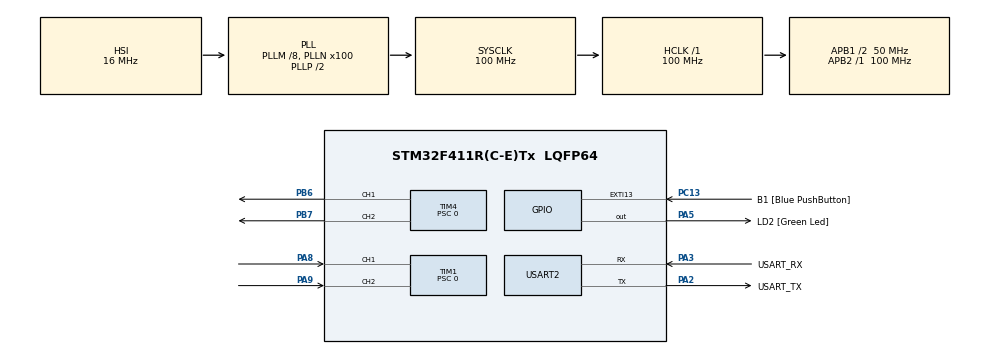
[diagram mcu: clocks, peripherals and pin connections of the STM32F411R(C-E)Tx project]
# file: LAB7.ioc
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Mcu.Family=STM32F4
RCC.CortexFreq_Value=100000000
PA14.GPIO_Label=TCK
TIM1.EncoderMode=TIM_ENCODERMODE_TI12
RCC.SYSCLKSource=RCC_SYSCLKSOURCE_PLLCLK
ProjectManager.StackSize=0x400
TIM1.Prescaler=0
PH0\ -\ OSC_IN.Signal=RCC_OSC_IN
RCC.HCLKFreq_Value=100000000
RCC.APB2TimFreq_Value=100000000
TIM4.Pulse-PWM\ Generation1\ CH1=5000
PB6.Signal=S_TIM4_CH1
RCC.AHBFreq_Value=100000000
NVIC.TIM1_TRG_COM_TIM11_IRQn=true\:0\:0\:false\:false\:true\:true\:true
RCC.HSE_VALUE=8000000
PC13-ANTI_TAMP.Signal=GPXTI13
PC14-OSC32_IN.Mode=LSE-External-Oscillator
PA14.Mode=Serial_Wire
SH.S_TIM4_CH2.0=TIM4_CH2,PWM Generation2 CH2
PB7.Signal=S_TIM4_CH2
PA8.Signal=S_TIM1_CH1
TIM4.Period=10000
RCC.FLatency-AdvancedSettings=FLASH_LATENCY_3
Mcu.Package=LQFP64
TIM2.Prescaler=99
USART2.VirtualMode=VM_ASYNC
PA2.GPIO_Label=USART_TX
SH.S_TIM4_CH1.0=TIM4_CH1,PWM Generation1 CH1
RCC.APB1TimFreq_Value=100000000
TIM1.Period=3071
TIM4.Pulse-PWM\ Generation2\ CH2=5000
PA3.Signal=USART2_RX
PB3.GPIO_Label=SWO
TIM4.Channel-PWM\ Generation1\ CH1=TIM_CHANNEL_1
PC15-OSC32_OUT.Mode=LSE-External-Oscillator
PC13-ANTI_TAMP.GPIO_Label=B1 [Blue PushButton]
PH1\ -\ OSC_OUT.Mode=HSE-External-Clock-Source
RCC.APB1CLKDivider=RCC_HCLK_DIV2
PC14-OSC32_IN.Signal=RCC_OSC32_IN
PA13.Signal=SYS_JTMS-SWDIO
PA3.Mode=Asynchronous
PH0\ -\ OSC_IN.Mode=HSE-External-Clock-Source
SH.S_TIM1_CH1.0=TIM1_CH1,Encoder_Interface
ProjectManager.TargetToolchain=STM32CubeIDE
PA9.Signal=S_TIM1_CH2
TIM4.Prescaler=0
PC15-OSC32_OUT.Signal=RCC_OSC32_OUT
PA5.Signal=GPIO_Output
PH1\ -\ OSC_OUT.Signal=RCC_OSC_OUT
board=NUCLEO-F411RE
RCC.VCOOutputFreq_Value=200000000
TIM4.Channel-PWM\ Generation2\ CH2=TIM_CHANNEL_2
RCC.APB2Freq_Value=100000000
SH.S_TIM1_CH2.0=TIM1_CH2,Encoder_Interface
VP_TIM2_VS_ClockSourceINT.Mode=Internal
TIM1.IC2Filter=4
PA13.Mode=Serial_Wire
Mcu.Name=STM32F411R(C-E)Tx
PA13.GPIO_Label=TMS
PA2.Signal=USART2_TX
RCC.48MHZClocksFreq_Value=50000000
PB3.Signal=SYS_JTDO-SWO
RCC.SYSCLKFreq_VALUE=100000000
PA5.GPIO_Label=LD2 [Green Led]
TIM1.IC1Filter=15
PC13-ANTI_TAMP.GPIO_ModeDefaultEXTI=GPIO_MODE_IT_FALLING
PA14.Signal=SYS_JTCK-SWCLK
ProjectManager.HeapSize=0x200
RCC.HSI_VALUE=16000000
VP_TIM4_VS_ClockSourceINT.Mode=Internal
NVIC.PriorityGroup=NVIC_PRIORITYGROUP_0
RCC.PLLM=8
RCC.PLLN=100
PA2.Mode=Asynchronous
RCC.APB1Freq_Value=50000000
PA3.GPIO_Label=USART_RX

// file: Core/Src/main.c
/* USER CODE BEGIN Header */
/**
  ******************************************************************************
  * @file           : main.c
  * @brief          : Main program body
  ******************************************************************************
  * @attention
  *
  * <h2><center>&copy; Copyright (c) 2021 STMicroelectronics.
  * All rights reserved.</center></h2>
  *
  * This software component is licensed by ST under BSD 3-Clause license,
  * the "License"; You may not use this file except in compliance with the
  * License. You may obtain a copy of the License at:
  *                        opensource.org/licenses/BSD-3-Clause
  *
  ******************************************************************************
  */
/* USER CODE END Header */
#include "main.h"

TIM_HandleTypeDef htim1;
TIM_HandleTypeDef htim2;
TIM_HandleTypeDef htim4;

UART_HandleTypeDef huart2;

/* USER CODE BEGIN PV */
uint64_t PWMOut1 = 0;
uint64_t PWMOut2 = 0;
float Vel = 0;

uint16_t first = 0;

uint64_t _micros = 0;
float setVel = 0;
float EncoderRpm = 0;
float EncoderVel = 0;

float lastEncoderRpm = 0;
float Avg_Vel = 0;
uint64_t Timestamp_Encoder = 0;
uint64_t Timestamp_Average = 0;

float Kp = 300.0;
float Ki = 1.8;
float Kd = 160.0;
float saveKp = 300.0;
float saveKi = 1.8;
float saveKd = 160.0;
float K1 = 461.8;//Kp + Ki + Kd;
float K2 = 620;//Kp + (2*Kd);

float VelChange = 0;
float VelError = 0;

//float sumError = 0;
//float diffError = 0;

float lastError = 0;
float SecondlastError = 0;

/* USER CODE END PV */

void SystemClock_Config(void);
static void MX_GPIO_Init(void);
static void MX_USART2_UART_Init(void);
static void MX_TIM1_Init(void);
static void MX_TIM2_Init(void);
static void MX_TIM4_Init(void);
/* USER CODE BEGIN PFP */
uint64_t micros();
float EncoderVelocity_Update();
/* USER CODE END PFP */

int main(void)
{

  /* MCU Configuration--------------------------------------------------------*/

  /* Reset of all peripherals, Initializes the Flash interface and the Systick. */
  HAL_Init();

  /* Configure the system clock */
  SystemClock_Config();

  /* Initialize all configured peripherals */
  MX_GPIO_Init();
  MX_USART2_UART_Init();
  MX_TIM1_Init();
  MX_TIM2_Init();
  MX_TIM4_Init();
  /* USER CODE BEGIN 2 */
  HAL_TIM_Base_Start_IT(&htim2);
  HAL_TIM_Encoder_Start(&htim1, TIM_CHANNEL_ALL);
  HAL_TIM_Base_Start(&htim4);
  HAL_TIM_PWM_Start(&htim4, TIM_CHANNEL_1);
  HAL_TIM_PWM_Start(&htim4, TIM_CHANNEL_2);
  /* USER CODE END 2 */

  /* Infinite loop */
  while (1)
  {

    /* USER CODE BEGIN 3 */
	  //RAW Read
//	  /*if (micros() - Timestamp_Encoder >= 1000) //us
//	  {
//		  Timestamp_Encoder = micros();
//		  EncoderVel = EncoderVelocity_Update();
//	  }*/
	  //Add LPF?
	  //สูงสุดสามารถวัดได้ 1535 pulse ใน 1000 us
	  //ดังนั้นจากสมการ (EncoderPositionDiff * 1000000) / (float) EncoderTimeDiff
	  //1535000 pulse/second * 60 / 3072 = 29980 Rpm
	  //ต่ำสุดระบบสามารถวัดได้ 1 pulse
	  //ใน 1000 us
	  //ดังนั้นจากสมการ (EncoderPositionDiff * 1000000) / (float) EncoderTimeDiff
	  //1000 pulse/second * 60 / 3072 = 19.53125 Rpm
	  if (micros() - Timestamp_Encoder >= 1000) //us
	  {
		  Timestamp_Encoder = micros();
		  EncoderVel = ((EncoderVel * 199) + EncoderVelocity_Update())/200.0;
		  EncoderRpm = (EncoderVel * 60.0)/3072.0;
		  if(setVel > 35.0)
		  {
			  setVel = 35.0;
		  }
		  else if(setVel < -35.0)
		  {
			  setVel = -35.0;
		  }
		  VelError = setVel - EncoderRpm;
		  VelChange = (K1*VelError) - (K2*lastError) + (Kd*SecondlastError);
		  Vel += VelChange;

		  if(Vel > 10000.0)
		  {
			  Vel = 10000.0;
		  }
		  if(Vel < -10000.0)
		  {
			  Vel = -10000.0;
		  }

		  if(Vel >= 0)
		  {
			  PWMOut1 = Vel;
			  PWMOut2 = 0;
		  }
		  if(Vel < 0)
		  {
			  PWMOut1 = 0;
			  PWMOut2 = -Vel;
		  }

		  SecondlastError = lastError;
		  lastError = VelError;

		  /*if(Kp != saveKp || Ki != saveKi || Kd != saveKd)
		  {
			  Vel = 0;
			  SecondlastError = 0;
			  lastError = 0;

			  K1 = Kp + Ki + Kd;
			  K2 = Kp + (2*Kd);

			  saveKd = Kd;
			  saveKp = Kp;
			  saveKi = Ki;

		  }*/

		  __HAL_TIM_SET_COMPARE(&htim4, TIM_CHANNEL_1, PWMOut1);
		  __HAL_TIM_SET_COMPARE(&htim4, TIM_CHANNEL_2, PWMOut2);
	  }
//	  if (micros() - Timestamp_Average >= 10000)
//	  {
//		  Timestamp_Average = micros();
//		  Avg_Vel = ((lastEncoderRpm * 999) + EncoderRpm)/1000.0;
//		  lastEncoderRpm = EncoderRpm;
//	  }
  }
  /* USER CODE END 3 */
}

void SystemClock_Config(void)
{
  RCC_OscInitTypeDef RCC_OscInitStruct = {0};
  RCC_ClkInitTypeDef RCC_ClkInitStruct = {0};

  /** Configure the main internal regulator output voltage
  */
  __HAL_RCC_PWR_CLK_ENABLE();
  __HAL_PWR_VOLTAGESCALING_CONFIG(PWR_REGULATOR_VOLTAGE_SCALE1);
  /** Initializes the RCC Oscillators according to the specified parameters
  * in the RCC_OscInitTypeDef structure.
  */
  RCC_OscInitStruct.OscillatorType = RCC_OSCILLATORTYPE_HSI;
  RCC_OscInitStruct.HSIState = RCC_HSI_ON;
  RCC_OscInitStruct.HSICalibrationValue = RCC_HSICALIBRATION_DEFAULT;
  RCC_OscInitStruct.PLL.PLLState = RCC_PLL_ON;
  RCC_OscInitStruct.PLL.PLLSource = RCC_PLLSOURCE_HSI;
  RCC_OscInitStruct.PLL.PLLM = 8;
  RCC_OscInitStruct.PLL.PLLN = 100;
  RCC_OscInitStruct.PLL.PLLP = RCC_PLLP_DIV2;
  RCC_OscInitStruct.PLL.PLLQ = 4;
  if (HAL_RCC_OscConfig(&RCC_OscInitStruct) != HAL_OK)
  {
    Error_Handler();
  }
  /** Initializes the CPU, AHB and APB buses clocks
  */
  RCC_ClkInitStruct.ClockType = RCC_CLOCKTYPE_HCLK|RCC_CLOCKTYPE_SYSCLK
                              |RCC_CLOCKTYPE_PCLK1|RCC_CLOCKTYPE_PCLK2;
  RCC_ClkInitStruct.SYSCLKSource = RCC_SYSCLKSOURCE_PLLCLK;
  RCC_ClkInitStruct.AHBCLKDivider = RCC_SYSCLK_DIV1;
  RCC_ClkInitStruct.APB1CLKDivider = RCC_HCLK_DIV2;
  RCC_ClkInitStruct.APB2CLKDivider = RCC_HCLK_DIV1;

  if (HAL_RCC_ClockConfig(&RCC_ClkInitStruct, FLASH_LATENCY_3) != HAL_OK)
  {
    Error_Handler();
  }
}

static void MX_TIM1_Init(void)
{

  TIM_Encoder_InitTypeDef sConfig = {0};
  TIM_MasterConfigTypeDef sMasterConfig = {0};

  htim1.Instance = TIM1;
  htim1.Init.Prescaler = 0;
  htim1.Init.CounterMode = TIM_COUNTERMODE_UP;
  htim1.Init.Period = 3071;
  htim1.Init.ClockDivision = TIM_CLOCKDIVISION_DIV1;
  htim1.Init.RepetitionCounter = 0;
  htim1.Init.AutoReloadPreload = TIM_AUTORELOAD_PRELOAD_DISABLE;
  sConfig.EncoderMode = TIM_ENCODERMODE_TI12;
  sConfig.IC1Polarity = TIM_ICPOLARITY_RISING;
  sConfig.IC1Selection = TIM_ICSELECTION_DIRECTTI;
  sConfig.IC1Prescaler = TIM_ICPSC_DIV1;
  sConfig.IC1Filter = 15;
  sConfig.IC2Polarity = TIM_ICPOLARITY_RISING;
  sConfig.IC2Selection = TIM_ICSELECTION_DIRECTTI;
  sConfig.IC2Prescaler = TIM_ICPSC_DIV1;
  sConfig.IC2Filter = 4;
  if (HAL_TIM_Encoder_Init(&htim1, &sConfig) != HAL_OK)
  {
    Error_Handler();
  }
  sMasterConfig.MasterOutputTrigger = TIM_TRGO_RESET;
  sMasterConfig.MasterSlaveMode = TIM_MASTERSLAVEMODE_DISABLE;
  if (HAL_TIMEx_MasterConfigSynchronization(&htim1, &sMasterConfig) != HAL_OK)
  {
    Error_Handler();
  }

}

static void MX_TIM2_Init(void)
{

  TIM_ClockConfigTypeDef sClockSourceConfig = {0};
  TIM_MasterConfigTypeDef sMasterConfig = {0};

  htim2.Instance = TIM2;
  htim2.Init.Prescaler = 99;
  htim2.Init.CounterMode = TIM_COUNTERMODE_UP;
  htim2.Init.Period = 4294967295;
  htim2.Init.ClockDivision = TIM_CLOCKDIVISION_DIV1;
  htim2.Init.AutoReloadPreload = TIM_AUTORELOAD_PRELOAD_DISABLE;
  if (HAL_TIM_Base_Init(&htim2) != HAL_OK)
  {
    Error_Handler();
  }
  sClockSourceConfig.ClockSource = TIM_CLOCKSOURCE_INTERNAL;
  if (HAL_TIM_ConfigClockSource(&htim2, &sClockSourceConfig) != HAL_OK)
  {
    Error_Handler();
  }
  sMasterConfig.MasterOutputTrigger = TIM_TRGO_RESET;
  sMasterConfig.MasterSlaveMode = TIM_MASTERSLAVEMODE_DISABLE;
  if (HAL_TIMEx_MasterConfigSynchronization(&htim2, &sMasterConfig) != HAL_OK)
  {
    Error_Handler();
  }

}

static void MX_TIM4_Init(void)
{

  TIM_ClockConfigTypeDef sClockSourceConfig = {0};
  TIM_MasterConfigTypeDef sMasterConfig = {0};
  TIM_OC_InitTypeDef sConfigOC = {0};

  htim4.Instance = TIM4;
  htim4.Init.Prescaler = 0;
  htim4.Init.CounterMode = TIM_COUNTERMODE_UP;
  htim4.Init.Period = 10000;
  htim4.Init.ClockDivision = TIM_CLOCKDIVISION_DIV1;
  htim4.Init.AutoReloadPreload = TIM_AUTORELOAD_PRELOAD_DISABLE;
  if (HAL_TIM_Base_Init(&htim4) != HAL_OK)
  {
    Error_Handler();
  }
  sClockSourceConfig.ClockSource = TIM_CLOCKSOURCE_INTERNAL;
  if (HAL_TIM_ConfigClockSource(&htim4, &sClockSourceConfig) != HAL_OK)
  {
    Error_Handler();
  }
  if (HAL_TIM_PWM_Init(&htim4) != HAL_OK)
  {
    Error_Handler();
  }
  sMasterConfig.MasterOutputTrigger = TIM_TRGO_RESET;
  sMasterConfig.MasterSlaveMode = TIM_MASTERSLAVEMODE_DISABLE;
  if (HAL_TIMEx_MasterConfigSynchronization(&htim4, &sMasterConfig) != HAL_OK)
  {
    Error_Handler();
  }
  sConfigOC.OCMode = TIM_OCMODE_PWM1;
  sConfigOC.Pulse = 5000;
  sConfigOC.OCPolarity = TIM_OCPOLARITY_HIGH;
  sConfigOC.OCFastMode = TIM_OCFAST_DISABLE;
  if (HAL_TIM_PWM_ConfigChannel(&htim4, &sConfigOC, TIM_CHANNEL_1) != HAL_OK)
  {
    Error_Handler();
  }
  if (HAL_TIM_PWM_ConfigChannel(&htim4, &sConfigOC, TIM_CHANNEL_2) != HAL_OK)
  {
    Error_Handler();
  }
  HAL_TIM_MspPostInit(&htim4);

}

static void MX_USART2_UART_Init(void)
{

  huart2.Instance = USART2;
  huart2.Init.BaudRate = 115200;
  huart2.Init.WordLength = UART_WORDLENGTH_8B;
  huart2.Init.StopBits = UART_STOPBITS_1;
  huart2.Init.Parity = UART_PARITY_NONE;
  huart2.Init.Mode = UART_MODE_TX_RX;
  huart2.Init.HwFlowCtl = UART_HWCONTROL_NONE;
  huart2.Init.OverSampling = UART_OVERSAMPLING_16;
  if (HAL_UART_Init(&huart2) != HAL_OK)
  {
    Error_Handler();
  }

}

static void MX_GPIO_Init(void)
{
  GPIO_InitTypeDef GPIO_InitStruct = {0};

  /* GPIO Ports Clock Enable */
  __HAL_RCC_GPIOC_CLK_ENABLE();
  __HAL_RCC_GPIOH_CLK_ENABLE();
  __HAL_RCC_GPIOA_CLK_ENABLE();
  __HAL_RCC_GPIOB_CLK_ENABLE();

  /*Configure GPIO pin Output Level */
  HAL_GPIO_WritePin(LD2_GPIO_Port, LD2_Pin, GPIO_PIN_RESET);

  /*Configure GPIO pin : B1_Pin */
  GPIO_InitStruct.Pin = B1_Pin;
  GPIO_InitStruct.Mode = GPIO_MODE_IT_FALLING;
  GPIO_InitStruct.Pull = GPIO_NOPULL;
  HAL_GPIO_Init(B1_GPIO_Port, &GPIO_InitStruct);

  /*Configure GPIO pin : LD2_Pin */
  GPIO_InitStruct.Pin = LD2_Pin;
  GPIO_InitStruct.Mode = GPIO_MODE_OUTPUT_PP;
  GPIO_InitStruct.Pull = GPIO_NOPULL;
  GPIO_InitStruct.Speed = GPIO_SPEED_FREQ_LOW;
  HAL_GPIO_Init(LD2_GPIO_Port, &GPIO_InitStruct);

}

/* USER CODE BEGIN 4 */
#define  HTIM_ENCODER htim1
#define  MAX_SUBPOSITION_OVERFLOW 1536
#define  MAX_ENCODER_PERIOD 3072

float EncoderVelocity_Update()
{
	//Save Last state
	static uint32_t EncoderLastPosition = 0;
	static uint64_t EncoderLastTimestamp = 0;

	//read data
	uint32_t EncoderNowPosition = HTIM_ENCODER.Instance->CNT;
	uint64_t EncoderNowTimestamp = micros();

	int32_t EncoderPositionDiff;
	uint64_t EncoderTimeDiff;

	EncoderTimeDiff = EncoderNowTimestamp - EncoderLastTimestamp;
	EncoderPositionDiff = EncoderNowPosition - EncoderLastPosition;

	//compensate overflow and underflow
	if (EncoderPositionDiff >= MAX_SUBPOSITION_OVERFLOW)
	{
		EncoderPositionDiff -= MAX_ENCODER_PERIOD;
	}
	else if (-EncoderPositionDiff >= MAX_SUBPOSITION_OVERFLOW)
	{
		EncoderPositionDiff += MAX_ENCODER_PERIOD;
	}

	//Update Position and time
	EncoderLastPosition = EncoderNowPosition;
	EncoderLastTimestamp = EncoderNowTimestamp;

	//Calculate velocity
	//EncoderTimeDiff is in uS
	return (EncoderPositionDiff * 1000000) / (float) EncoderTimeDiff;

}

void HAL_TIM_PeriodElapsedCallback(TIM_HandleTypeDef *htim)
{
	if (htim == &htim2)
	{
		_micros += 4294967295;
	}
}
uint64_t micros()
{
	return _micros + htim2.Instance->CNT;
}
/* USER CODE END 4 */

void Error_Handler(void)
{
  __disable_irq();
  while (1)
  {
  }
}

/************************ (C) COPYRIGHT STMicroelectronics *****END OF FILE****/
